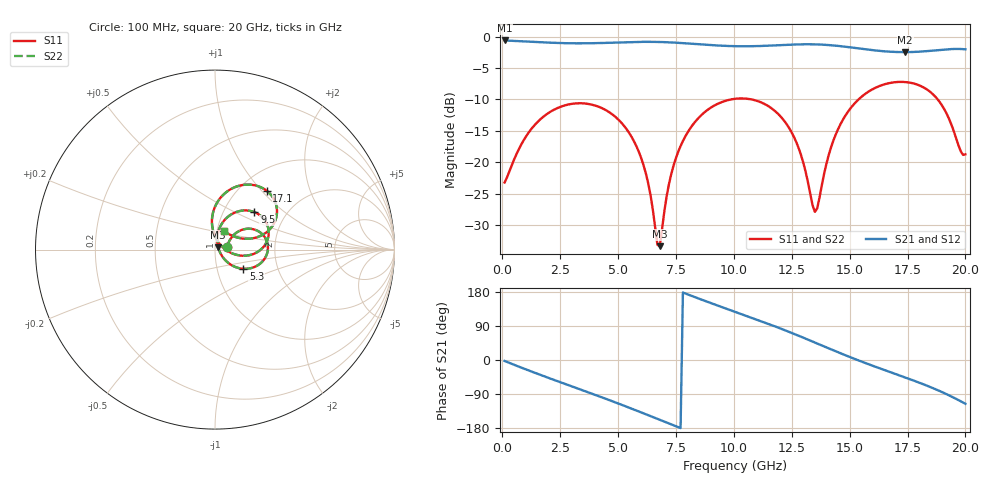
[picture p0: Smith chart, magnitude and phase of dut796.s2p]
! Touchstone file exported from HFSS 2026.1.0
!  File:  C:/ffzhzh/LocalFiles/Ansys_Project_Files/temp_train_TSV_RDL_796_1783261954_30076.aedt
!  Generated:  10:43:20 PM Jul  5, 2026
!  Design:  TSV_RDL
!  Project:  temp_train_TSV_RDL_796_1783261954_30076
! Variables:
!  h_bsmrdl = 4.64um
!  h_ox = 20um
!  h_rdl = 5um
!  h_sub = 81.25um
!  h_tmrdl = 2.16um
!  h_tsv = 81.25um
!  h_via = 3um
!  l_bsmrdl = 996.24um
!  l_sub = 7038.59um
!  l_tmrdl = 891.52um
!  m_sub = 200um
!  pitch = 26.1um
!  r_tsv = 11.19um
!  s_tmrdl = 10um
!  w_bsmrdl = 17.88um
!  w_sub = 500um
!  w_tmrdl = 10.05um
!  x_tsv_center1 = 896.545um
!  x_tsv_center2 = 1910.665um
!  x_tsv_center3 = 2812.235um
!  x_tsv_center4 = 3826.355um
!  x_tsv_center5 = 4727.925um
!  x_tsv_center6 = 5742.045um
# GHz S MA R 50.000000
! Terminal data exported
! Port[1] = TM_RDL1_1_T1
! Port[2] = TM_RDL5_1_T1
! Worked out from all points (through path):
!   200 points, 100 MHz to 20 GHz, reference 50 ohm
!   highest |S21| = -0.60 dB at 100 MHz (marker M1); lowest = -2.5 dB at 17.4 GHz (marker M2)
!   group delay of S21, straight-line fit = 65.1 ps
!   lowest |S11| = -33.3 dB at 6.8 GHz (marker M3), VSWR 1.04, Z = 51.8 + j1.23 ohm
!   |S11| at or under -10 dB: start of sweep to 9.862 GHz; 10.77 GHz to 15.38 GHz (4.611 GHz wide, 35.3 % of centre); 18.81 GHz to end of sweep
!   |S22| runs from -33.4 to -7.2 dB; largest |S21 - S12| = 1.6e-14
!   S11 on the Smith chart (normalised r, x): 100 MHz: 1.14, +0.03; 5.3 GHz: 1.34, -0.30; 9.5 GHz: 1.39, +0.64; 17.1 GHz: 1.32, +1.07; 20 GHz: 1.08, +0.23
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0.1  0.06906 11.5  0.9329 -2.6  0.9329 -2.6  0.06906 11.5
! Gamma 0 0 0 0
! Port Impedance 50 0 50 0
1.5  0.2074 33.8  0.9056 -35.9  0.9056 -35.9  0.2074 33.8
3.5  0.2946 0.4  0.885 -80.6  0.885 -80.6  0.2946 0.4
5.3  0.1907 -34.1  0.9031 -121.6  0.9031 -121.6  0.1908 -34.1
6.1  0.09484 -45.6  0.9095 -140.7  0.9095 -140.7  0.09492 -45.5
6.7  0.02205 -3.1  0.9079 -155.4  0.9079 -155.4  0.02204 -3.3
6.8  0.02151 33.4  0.907 -157.8  0.907 -157.8  0.02144 33.3
7.2  0.0674 79.2  0.9014 -167.5  0.9014 -167.5  0.0673 79.2
7.7  0.1348 76.9  0.8909 -179.6  0.8909 -179.6  0.1347 76.9
9.5  0.3027 43.6  0.8468 139.3  0.8468 139.3  0.3027 43.7
10.1  0.3211 32.0  0.8397 126.2  0.8397 126.2  0.3211 32.1
12.2  0.2109 -7.2  0.8597 78.7  0.8597 78.7  0.2111 -7.0
12.9  0.1144 -13.7  0.8689 61.4  0.8689 61.4  0.1147 -13.3
13.4  0.04551 16.0  0.8693 48.7  0.8693 48.7  0.04616 16.4
13.6  0.04298 59.7  0.8674 43.6  0.8674 43.6  0.04364 59.3
14.1  0.1147 96.5  0.8574 30.7  0.8574 30.7  0.1149 96.2
14.8  0.2326 90.7  0.8322 13.0  0.8322 13.0  0.2327 90.6
16.7  0.4267 56.0  0.7601 -30.8  0.7601 -30.8  0.4268 56.0
17.1  0.4362 48.7  0.7543 -39.5  0.7543 -39.5  0.4363 48.7
17.4  0.4353 43.4  0.7532 -46.1  0.7532 -46.1  0.4355 43.4
18.8  0.3172 19.6  0.7811 -79.5  0.7811 -79.5  0.3175 19.7
20  0.1158 65.1  0.7934 -115.4  0.7934 -115.4  0.1159 65.0
